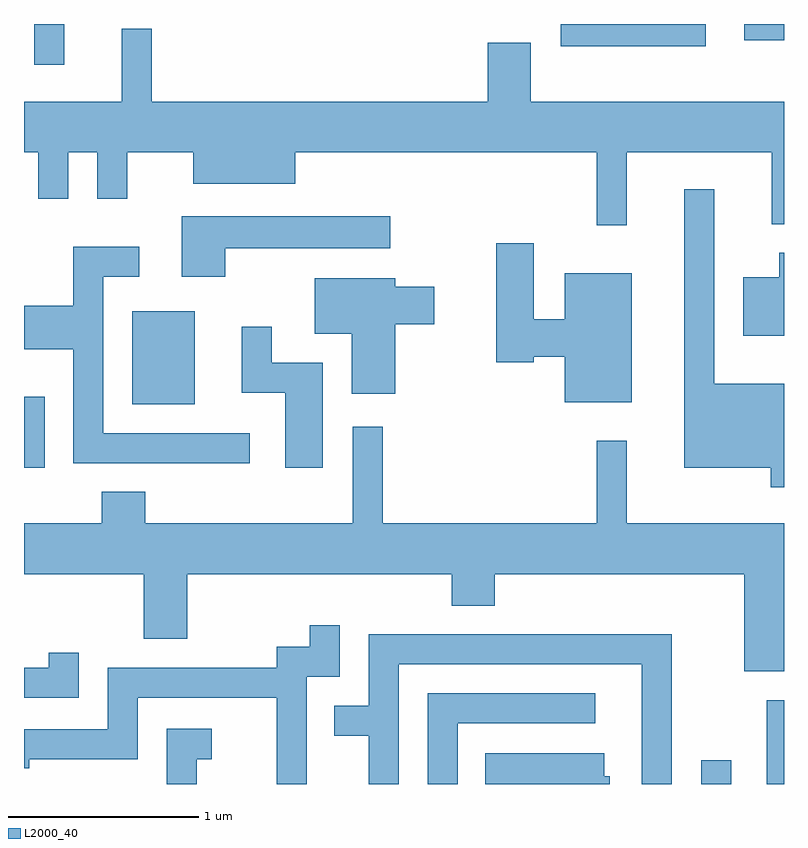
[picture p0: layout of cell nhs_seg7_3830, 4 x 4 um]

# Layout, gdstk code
import gdstk
lib = gdstk.Library(unit=1e-6, precision=1e-09)
def R(c, l, rs):  # rectangles x0, y0, x1, y1
    for r in rs: c.add(gdstk.rectangle(r[:2], r[2:], *l))
def P(c, l, *ps):  # polygons
    for p in ps: c.add(gdstk.Polygon(p, *l))
L2000_40 = (2000, 40)

nhs_seg7_3830 = lib.new_cell('nhs_seg7_3830')
R(nhs_seg7_3830, L2000_40, [(305.176,1784.252,305.334,1784.378), (305.521,1784.252,305.611,1784.694), (301.611,1785.916,301.719,1786.289), (302.181,1786.251,302.509,1786.739), (301.666,1788.038,301.824,1788.252), (304.436,1788.136,305.199,1788.252), (305.401,1788.166,305.611,1788.252)])
P(nhs_seg7_3830, L2000_40, [(304.784,1787.576),(305.546,1787.576),(305.546,1787.198),(305.611,1787.198),(305.611,1787.844),(304.279,1787.844),(304.279,1788.154),(304.051,1788.154),(304.051,1787.844),(302.284,1787.844),(302.284,1788.228),(302.126,1788.228),(302.126,1787.844),(301.611,1787.844),(301.611,1787.576),(301.686,1787.576),(301.686,1787.333),(301.844,1787.333),(301.844,1787.576),(301.996,1787.576),(301.996,1787.333),(302.154,1787.333),(302.154,1787.576),(302.501,1787.576),(302.501,1787.411),(303.039,1787.411),(303.039,1787.576),(304.626,1787.576),(304.626,1787.193),(304.784,1787.193)],
  [(305.611,1786.359),(305.244,1786.359),(305.244,1787.383),(305.086,1787.383),(305.086,1785.916),(305.541,1785.916),(305.541,1785.813),(305.611,1785.813)],
  [(302.669,1787.071),(303.538,1787.071),(303.538,1787.239),(302.441,1787.239),(302.441,1786.921),(302.669,1786.921)],
  [(304.809,1786.939),(304.456,1786.939),(304.456,1786.699),(304.294,1786.699),(304.294,1787.099),(304.096,1787.099),(304.096,1786.471),(304.294,1786.471),(304.294,1786.501),(304.456,1786.501),(304.456,1786.261),(304.809,1786.261)],
  [(302.798,1786.099),(302.029,1786.099),(302.029,1786.921),(302.218,1786.921),(302.218,1787.079),(301.871,1787.079),(301.871,1786.769),(301.611,1786.769),(301.611,1786.541),(301.871,1786.541),(301.871,1785.941),(302.798,1785.941)],
  [(305.611,1787.049),(305.586,1787.049),(305.586,1786.919),(305.396,1786.919),(305.396,1786.611),(305.611,1786.611)],
  [(303.564,1786.671),(303.769,1786.671),(303.769,1786.869),(303.564,1786.869),(303.564,1786.914),(303.141,1786.914),(303.141,1786.621),(303.336,1786.621),(303.336,1786.306),(303.564,1786.306)],
  [(303.184,1786.469),(302.914,1786.469),(302.914,1786.658),(302.756,1786.658),(302.756,1786.311),(302.986,1786.311),(302.986,1785.916),(303.184,1785.916)],
  [(305.611,1785.624),(304.784,1785.624),(304.784,1786.058),(304.626,1786.058),(304.626,1785.624),(303.499,1785.624),(303.499,1786.133),(303.341,1786.133),(303.341,1785.624),(302.249,1785.624),(302.249,1785.789),(302.021,1785.789),(302.021,1785.624),(301.611,1785.624),(301.611,1785.356),(302.241,1785.356),(302.241,1785.016),(302.469,1785.016),(302.469,1785.356),(303.861,1785.356),(303.861,1785.191),(304.089,1785.191),(304.089,1785.356),(305.401,1785.356),(305.401,1784.846),(305.611,1784.846)],
  [(303.099,1784.816),(303.274,1784.816),(303.274,1785.088),(303.116,1785.088),(303.116,1784.974),(302.941,1784.974),(302.941,1784.864),(302.051,1784.864),(302.051,1784.539),(301.611,1784.539),(301.611,1784.336),(301.639,1784.336),(301.639,1784.381),(302.209,1784.381),(302.209,1784.706),(302.941,1784.706),(302.941,1784.252),(303.099,1784.252)],
  [(303.584,1784.881),(304.861,1784.881),(304.861,1784.252),(305.019,1784.252),(305.019,1785.039),(303.426,1785.039),(303.426,1784.664),(303.243,1784.664),(303.243,1784.506),(303.426,1784.506),(303.426,1784.252),(303.584,1784.252)],
  [(301.899,1784.943),(301.741,1784.943),(301.741,1784.864),(301.611,1784.864),(301.611,1784.706),(301.899,1784.706)],
  [(303.894,1784.571),(304.618,1784.571),(304.618,1784.729),(303.736,1784.729),(303.736,1784.252),(303.894,1784.252)],
  [(302.519,1784.381),(302.598,1784.381),(302.598,1784.544),(302.361,1784.544),(302.361,1784.252),(302.519,1784.252)],
  [(304.694,1784.294),(304.664,1784.294),(304.664,1784.414),(304.038,1784.414),(304.038,1784.252),(304.694,1784.252)])

lib.write_gds('nhs_seg7_3830.gds')
